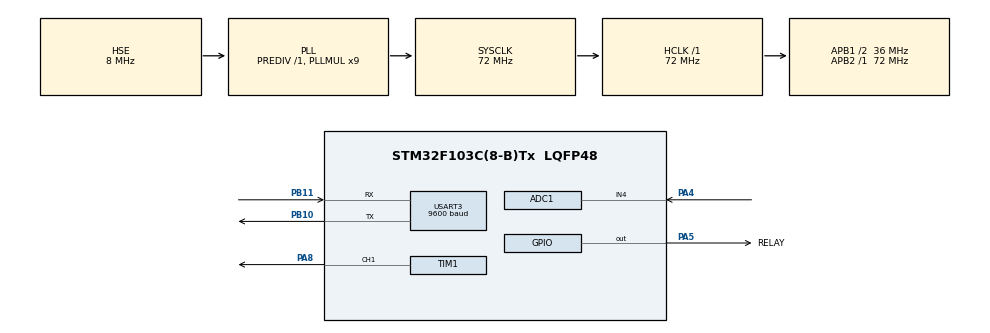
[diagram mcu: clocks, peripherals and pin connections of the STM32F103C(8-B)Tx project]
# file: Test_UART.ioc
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ADC1.Channel-2\#ChannelRegularConversion=ADC_CHANNEL_4
ADC1.ContinuousConvMode=ENABLE
ADC1.NbrOfConversion=1
ADC1.NbrOfConversionFlag=1
ADC1.Rank-2\#ChannelRegularConversion=1
ADC1.SamplingTime-2\#ChannelRegularConversion=ADC_SAMPLETIME_1CYCLE_5
ADC1.master=1
Dma.ADC1.0.Direction=DMA_PERIPH_TO_MEMORY
Dma.ADC1.0.Instance=DMA1_Channel1
Dma.ADC1.0.MemDataAlignment=DMA_MDATAALIGN_HALFWORD
Dma.ADC1.0.MemInc=DMA_MINC_ENABLE
Dma.ADC1.0.Mode=DMA_CIRCULAR
Dma.ADC1.0.PeriphDataAlignment=DMA_PDATAALIGN_HALFWORD
Dma.ADC1.0.PeriphInc=DMA_PINC_DISABLE
Dma.ADC1.0.Priority=DMA_PRIORITY_HIGH
Dma.Request0=ADC1
Dma.Request1=USART3_RX
Dma.Request2=USART3_TX
Dma.USART3_RX.1.Direction=DMA_PERIPH_TO_MEMORY
Dma.USART3_RX.1.Instance=DMA1_Channel3
Dma.USART3_RX.1.MemDataAlignment=DMA_MDATAALIGN_BYTE
Dma.USART3_RX.1.MemInc=DMA_MINC_ENABLE
Dma.USART3_RX.1.Mode=DMA_NORMAL
Dma.USART3_RX.1.PeriphDataAlignment=DMA_PDATAALIGN_BYTE
Dma.USART3_RX.1.PeriphInc=DMA_PINC_DISABLE
Dma.USART3_RX.1.Priority=DMA_PRIORITY_LOW
Dma.USART3_TX.2.Direction=DMA_MEMORY_TO_PERIPH
Dma.USART3_TX.2.Instance=DMA1_Channel2
Dma.USART3_TX.2.MemDataAlignment=DMA_MDATAALIGN_BYTE
Dma.USART3_TX.2.MemInc=DMA_MINC_ENABLE
Dma.USART3_TX.2.Mode=DMA_NORMAL
Dma.USART3_TX.2.PeriphDataAlignment=DMA_PDATAALIGN_BYTE
Dma.USART3_TX.2.PeriphInc=DMA_PINC_DISABLE
Dma.USART3_TX.2.Priority=DMA_PRIORITY_LOW
Mcu.Family=STM32F1
Mcu.Name=STM32F103C(8-B)Tx
Mcu.Package=LQFP48
NVIC.DMA1_Channel2_IRQn=true\:0\:0\:false\:false\:true\:true\:true\:true
NVIC.DMA1_Channel3_IRQn=true\:0\:0\:false\:false\:true\:true\:true\:true
NVIC.PriorityGroup=NVIC_PRIORITYGROUP_4
NVIC.TIM1_BRK_IRQn=true\:0\:0\:false\:false\:true\:true\:true\:true
NVIC.TIM1_CC_IRQn=true\:0\:0\:false\:false\:true\:true\:true\:true
NVIC.TIM1_TRG_COM_IRQn=true\:0\:0\:false\:false\:true\:true\:true\:true
NVIC.TIM1_UP_IRQn=true\:0\:0\:false\:false\:true\:true\:true\:true
NVIC.USART3_IRQn=true\:0\:0\:false\:false\:true\:true\:true\:true
PA13.Mode=Serial_Wire
PA13.Signal=SYS_JTMS-SWDIO
PA14.Mode=Serial_Wire
PA14.Signal=SYS_JTCK-SWCLK
PA4.Signal=ADCx_IN4
PA5.GPIO_Label=RELAY
PA5.GPIO_PuPd=GPIO_NOPULL
PA5.Signal=GPIO_Output
PA8.Signal=S_TIM1_CH1
PB10.Mode=Asynchronous
PB10.Signal=USART3_TX
PB11.GPIO_PuPd=GPIO_NOPULL
PB11.Mode=Asynchronous
PB11.Signal=USART3_RX
PD0-OSC_IN.Mode=HSE-External-Oscillator
PD0-OSC_IN.Signal=RCC_OSC_IN
PD1-OSC_OUT.Mode=HSE-External-Oscillator
PD1-OSC_OUT.Signal=RCC_OSC_OUT
ProjectManager.HeapSize=0x200
ProjectManager.StackSize=0x400
ProjectManager.TargetToolchain=STM32CubeIDE
RCC.ADCPresc=RCC_ADCPCLK2_DIV6
RCC.AHBFreq_Value=72000000
RCC.APB1CLKDivider=RCC_HCLK_DIV2
RCC.APB1Freq_Value=36000000
RCC.APB1TimFreq_Value=72000000
RCC.APB2Freq_Value=72000000
RCC.APB2TimFreq_Value=72000000
RCC.HCLKFreq_Value=72000000
RCC.PLLMUL=RCC_PLL_MUL9
RCC.PLLSourceVirtual=RCC_PLLSOURCE_HSE
RCC.SYSCLKFreq_VALUE=72000000
RCC.SYSCLKSource=RCC_SYSCLKSOURCE_PLLCLK
RCC.USBFreq_Value=72000000
SH.ADCx_IN4.0=ADC1_IN4,IN4
SH.S_TIM1_CH1.0=TIM1_CH1,PWM Generation1 CH1
TIM1.AutoReloadPreload=TIM_AUTORELOAD_PRELOAD_ENABLE
TIM1.Channel-PWM\ Generation1\ CH1=TIM_CHANNEL_1
TIM1.Period=1000-1
TIM1.Prescaler=72-1
USART3.BaudRate=9600
USART3.VirtualMode=VM_ASYNC
VP_TIM1_VS_ClockSourceINT.Mode=Internal
board=custom

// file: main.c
/* USER CODE BEGIN Header */
/**
  ******************************************************************************
  * @file           : main.c
  * @brief          : Main program body
  ******************************************************************************
  * @attention
  *
  * Copyright (c) 2024 STMicroelectronics.
  * All rights reserved.
  *
  * This software is licensed under terms that can be found in the LICENSE file
  * in the root directory of this software component.
  * If no LICENSE file comes with this software, it is provided AS-IS.
  *
  ******************************************************************************
  */
/* USER CODE END Header */
#include "main.h"

/* USER CODE BEGIN Includes */
#include <stdlib.h>
#include <string.h>
#include <stdio.h>
/* USER CODE END Includes */

/* USER CODE BEGIN PD */

/* NOTE: UART_USE_DMA, ADC_USE_DMA, RELAY_Pin, RELAY_GPIO_Port, RX_BUFFER_SIZE
 * and TX_BUFFER_SIZE are now centralized in main.h so that every module in
 * the project (main.c, and any other .c file that includes "main.h") shares
 * the exact same configuration and pin mapping. See main.h for details and
 * usage notes. */

/* USER CODE END PD */

ADC_HandleTypeDef hadc1;
DMA_HandleTypeDef hdma_adc1;

TIM_HandleTypeDef htim1;

UART_HandleTypeDef huart3;

/* USER CODE BEGIN PV */
static uint8_t  tx_buffer[TX_BUFFER_SIZE];
static uint8_t  rx_buffer[RX_BUFFER_SIZE];
static uint8_t  rx_data;              /* used only in Interrupt mode (byte by byte) */
static uint8_t  rx_index = 0;         /* used only in Interrupt mode */

static volatile int      pwm_value = 0;
static volatile uint16_t adc_value = 0;

#if ADC_USE_DMA
static uint16_t adc_dma_buffer[1];
#endif
/* USER CODE END PV */

void SystemClock_Config(void);
static void MX_GPIO_Init(void);
static void MX_DMA_Init(void);
static void MX_USART3_UART_Init(void);
static void MX_TIM1_Init(void);
static void MX_ADC1_Init(void);
/* USER CODE BEGIN PFP */
static void UART_SendString(const char *msg);
static void Process_Command(char *cmd, uint16_t len);
/* USER CODE END PFP */

/* USER CODE BEGIN 0 */

/**
 * @brief  Send a string over USART3, using DMA or Interrupt depending on
 *         the UART_USE_DMA configuration above.
 */
static void UART_SendString(const char *msg)
{
    uint16_t len = (uint16_t)strlen(msg);
    if (len >= TX_BUFFER_SIZE)
    {
        len = TX_BUFFER_SIZE - 1;
    }
    memcpy(tx_buffer, msg, len);

#if UART_USE_DMA
    HAL_UART_Transmit_DMA(&huart3, tx_buffer, len);
#else
    HAL_UART_Transmit_IT(&huart3, tx_buffer, len);
#endif
}

/**
 * @brief  Parses a single command line received over UART. This function is
 *         shared by both DMA and Interrupt modes, so the command logic is
 *         written only ONCE.
 *
 *  Supported commands:
 *    - "PWM_<0..100>"  -> set PWM duty cycle on TIM1 CH1
 *    - "relay ON"      -> turn the relay on (PA5)
 *    - "relay OFF"     -> turn the relay off (PA5)
 */
static void Process_Command(char *cmd, uint16_t len)
{
    (void)len;

    if (strncmp(cmd, "PWM_", 4) == 0)
    {
        pwm_value = atoi(cmd + 4);
        if (pwm_value >= 0 && pwm_value <= 100)
        {
            /* Map 0-100 (%) to the timer's 0-999 resolution */
            __HAL_TIM_SET_COMPARE(&htim1, TIM_CHANNEL_1, (uint32_t)(pwm_value * 10));
        }
    }
    else if (strncmp(cmd, "relay ON", 8) == 0)
    {
        HAL_GPIO_WritePin(RELAY_GPIO_Port, RELAY_Pin, GPIO_PIN_SET);
        UART_SendString("Relay ON\r\n");
    }
    else if (strncmp(cmd, "relay OFF", 9) == 0)
    {
        HAL_GPIO_WritePin(RELAY_GPIO_Port, RELAY_Pin, GPIO_PIN_RESET);
        UART_SendString("Relay OFF\r\n");
    }
}

/* =============================================================
 *  ==================  MODE: UART WITH DMA  ====================
 * ============================================================= */
#if UART_USE_DMA

/**
 * @brief  Called by HAL when DMA detects an "idle line" condition (i.e. no
 *         new data for a short while -> one line/command is considered
 *         complete). This is the standard way to receive variable-length
 *         UART data using DMA.
 * @param  Size Number of bytes received before the idle condition was detected.
 */
void HAL_UARTEx_RxEventCallback(UART_HandleTypeDef *huart, uint16_t Size)
{
    if (huart->Instance == USART3)
    {
        if (Size >= RX_BUFFER_SIZE) { Size = RX_BUFFER_SIZE - 1; }
        rx_buffer[Size] = '\0';

        Process_Command((char *)rx_buffer, Size);

        memset(rx_buffer, 0, sizeof(rx_buffer));

        /* Arm the next reception */
        HAL_UARTEx_ReceiveToIdle_DMA(&huart3, rx_buffer, RX_BUFFER_SIZE - 1);
        __HAL_DMA_DISABLE_IT(huart3.hdmarx, DMA_IT_HT); /* half-transfer IT not needed */
    }
}

#else
/* =============================================================
 *  ===============  MODE: UART WITH INTERRUPT  =================
 * ============================================================= */

/**
 * @brief  Built-in HAL callback, called every time 1 byte has been received
 *         via interrupt (HAL_UART_Receive_IT is re-armed after every byte).
 */
void HAL_UART_RxCpltCallback(UART_HandleTypeDef *huart)
{
    if (huart->Instance == USART3)
    {
        if (rx_data == '\n')
        {
            rx_buffer[rx_index] = '\0';

            Process_Command((char *)rx_buffer, rx_index);

            rx_index = 0;
            memset(rx_buffer, 0, sizeof(rx_buffer));
        }
        else if (rx_index < (RX_BUFFER_SIZE - 1))
        {
            rx_buffer[rx_index++] = rx_data;
        }

        /* Arm reception of the next byte */
        HAL_UART_Receive_IT(&huart3, &rx_data, 1);
    }
}

#endif /* UART_USE_DMA */

/* =============================================================
 *  ===============  MODE: ADC WITH INTERRUPT  ==================
 *  (active only when ADC_USE_DMA == 0)
 * ============================================================= */
#if !ADC_USE_DMA

/**
 * @brief  Called by HAL every time an ADC conversion completes (End Of
 *         Conversion). Since the ADC is configured with
 *         ContinuousConvMode = ENABLE, the next conversion runs
 *         automatically without needing to call Start_IT again.
 */
void HAL_ADC_ConvCpltCallback(ADC_HandleTypeDef *hadc)
{
    if (hadc->Instance == ADC1)
    {
        adc_value = (uint16_t)HAL_ADC_GetValue(hadc);
    }
}

#endif /* !ADC_USE_DMA */

/* USER CODE END 0 */

int main(void)
{

  /* MCU Configuration--------------------------------------------------------*/

  /* Reset of all peripherals, Initializes the Flash interface and the Systick. */
  HAL_Init();

  /* Configure the system clock */
  SystemClock_Config();

  /* Initialize all configured peripherals */
  MX_GPIO_Init();
  MX_DMA_Init();
  MX_USART3_UART_Init();
  MX_TIM1_Init();
  MX_ADC1_Init();
  /* USER CODE BEGIN 2 */

  /* --- Start PWM --- */
  HAL_TIM_PWM_Start(&htim1, TIM_CHANNEL_1);

  /* --- Start UART reception (mode selected by UART_USE_DMA) --- */
#if UART_USE_DMA
  HAL_UARTEx_ReceiveToIdle_DMA(&huart3, rx_buffer, RX_BUFFER_SIZE - 1);
  __HAL_DMA_DISABLE_IT(huart3.hdmarx, DMA_IT_HT);
#else
  HAL_UART_Receive_IT(&huart3, &rx_data, 1);
#endif

  /* --- Start ADC (mode selected by ADC_USE_DMA) --- */
#if ADC_USE_DMA
  HAL_ADC_Start_DMA(&hadc1, (uint32_t *)adc_dma_buffer, 1);
#else
  HAL_ADC_Start_IT(&hadc1);
#endif

  /* Send the initial ADC value as a sample output */
#if ADC_USE_DMA
  adc_value = adc_dma_buffer[0];
#endif
  {
      char msg[24];
      sprintf(msg, "ADC Value: %u\r\n", adc_value);
      UART_SendString(msg);
  }

  /* USER CODE END 2 */

  /* Infinite loop */
  while (1)
  {

    /* USER CODE BEGIN 3 */
#if ADC_USE_DMA
    adc_value = adc_dma_buffer[0];
#endif
    HAL_Delay(1000);
  }
  /* USER CODE END 3 */
}

void SystemClock_Config(void)
{
  RCC_OscInitTypeDef RCC_OscInitStruct = {0};
  RCC_ClkInitTypeDef RCC_ClkInitStruct = {0};
  RCC_PeriphCLKInitTypeDef PeriphClkInit = {0};

  /** Initializes the RCC Oscillators according to the specified parameters
  * in the RCC_OscInitTypeDef structure.
  */
  RCC_OscInitStruct.OscillatorType = RCC_OSCILLATORTYPE_HSE;
  RCC_OscInitStruct.HSEState = RCC_HSE_ON;
  RCC_OscInitStruct.HSEPredivValue = RCC_HSE_PREDIV_DIV1;
  RCC_OscInitStruct.HSIState = RCC_HSI_ON;
  RCC_OscInitStruct.PLL.PLLState = RCC_PLL_ON;
  RCC_OscInitStruct.PLL.PLLSource = RCC_PLLSOURCE_HSE;
  RCC_OscInitStruct.PLL.PLLMUL = RCC_PLL_MUL9;
  if (HAL_RCC_OscConfig(&RCC_OscInitStruct) != HAL_OK)
  {
    Error_Handler();
  }

  /** Initializes the CPU, AHB and APB buses clocks
  */
  RCC_ClkInitStruct.ClockType = RCC_CLOCKTYPE_HCLK|RCC_CLOCKTYPE_SYSCLK
                              |RCC_CLOCKTYPE_PCLK1|RCC_CLOCKTYPE_PCLK2;
  RCC_ClkInitStruct.SYSCLKSource = RCC_SYSCLKSOURCE_PLLCLK;
  RCC_ClkInitStruct.AHBCLKDivider = RCC_SYSCLK_DIV1;
  RCC_ClkInitStruct.APB1CLKDivider = RCC_HCLK_DIV2;
  RCC_ClkInitStruct.APB2CLKDivider = RCC_HCLK_DIV1;

  if (HAL_RCC_ClockConfig(&RCC_ClkInitStruct, FLASH_LATENCY_2) != HAL_OK)
  {
    Error_Handler();
  }
  PeriphClkInit.PeriphClockSelection = RCC_PERIPHCLK_ADC;
  PeriphClkInit.AdcClockSelection = RCC_ADCPCLK2_DIV6;
  if (HAL_RCCEx_PeriphCLKConfig(&PeriphClkInit) != HAL_OK)
  {
    Error_Handler();
  }
}

static void MX_ADC1_Init(void)
{

  ADC_ChannelConfTypeDef sConfig = {0};

  /** Common config
  */
  hadc1.Instance = ADC1;
  hadc1.Init.ScanConvMode = ADC_SCAN_DISABLE;
  hadc1.Init.ContinuousConvMode = ENABLE;
  hadc1.Init.DiscontinuousConvMode = DISABLE;
  hadc1.Init.ExternalTrigConv = ADC_SOFTWARE_START;
  hadc1.Init.DataAlign = ADC_DATAALIGN_RIGHT;
  hadc1.Init.NbrOfConversion = 1;
  if (HAL_ADC_Init(&hadc1) != HAL_OK)
  {
    Error_Handler();
  }

  /** Configure Regular Channel
  */
  sConfig.Channel = ADC_CHANNEL_4;
  sConfig.Rank = ADC_REGULAR_RANK_1;
  sConfig.SamplingTime = ADC_SAMPLETIME_1CYCLE_5;
  if (HAL_ADC_ConfigChannel(&hadc1, &sConfig) != HAL_OK)
  {
    Error_Handler();
  }
}

static void MX_TIM1_Init(void)
{

  TIM_ClockConfigTypeDef sClockSourceConfig = {0};
  TIM_MasterConfigTypeDef sMasterConfig = {0};
  TIM_OC_InitTypeDef sConfigOC = {0};
  TIM_BreakDeadTimeConfigTypeDef sBreakDeadTimeConfig = {0};

  htim1.Instance = TIM1;
  htim1.Init.Prescaler = 72-1;
  htim1.Init.CounterMode = TIM_COUNTERMODE_UP;
  htim1.Init.Period = 1000-1;
  htim1.Init.ClockDivision = TIM_CLOCKDIVISION_DIV1;
  htim1.Init.RepetitionCounter = 0;
  htim1.Init.AutoReloadPreload = TIM_AUTORELOAD_PRELOAD_ENABLE;
  if (HAL_TIM_Base_Init(&htim1) != HAL_OK)
  {
    Error_Handler();
  }
  sClockSourceConfig.ClockSource = TIM_CLOCKSOURCE_INTERNAL;
  if (HAL_TIM_ConfigClockSource(&htim1, &sClockSourceConfig) != HAL_OK)
  {
    Error_Handler();
  }
  if (HAL_TIM_PWM_Init(&htim1) != HAL_OK)
  {
    Error_Handler();
  }
  sMasterConfig.MasterOutputTrigger = TIM_TRGO_RESET;
  sMasterConfig.MasterSlaveMode = TIM_MASTERSLAVEMODE_DISABLE;
  if (HAL_TIMEx_MasterConfigSynchronization(&htim1, &sMasterConfig) != HAL_OK)
  {
    Error_Handler();
  }
  sConfigOC.OCMode = TIM_OCMODE_PWM1;
  sConfigOC.Pulse = 0;
  sConfigOC.OCPolarity = TIM_OCPOLARITY_HIGH;
  sConfigOC.OCNPolarity = TIM_OCNPOLARITY_HIGH;
  sConfigOC.OCFastMode = TIM_OCFAST_DISABLE;
  sConfigOC.OCIdleState = TIM_OCIDLESTATE_RESET;
  sConfigOC.OCNIdleState = TIM_OCNIDLESTATE_RESET;
  if (HAL_TIM_PWM_ConfigChannel(&htim1, &sConfigOC, TIM_CHANNEL_1) != HAL_OK)
  {
    Error_Handler();
  }
  sBreakDeadTimeConfig.OffStateRunMode = TIM_OSSR_DISABLE;
  sBreakDeadTimeConfig.OffStateIDLEMode = TIM_OSSI_DISABLE;
  sBreakDeadTimeConfig.LockLevel = TIM_LOCKLEVEL_OFF;
  sBreakDeadTimeConfig.DeadTime = 0;
  sBreakDeadTimeConfig.BreakState = TIM_BREAK_DISABLE;
  sBreakDeadTimeConfig.BreakPolarity = TIM_BREAKPOLARITY_HIGH;
  sBreakDeadTimeConfig.AutomaticOutput = TIM_AUTOMATICOUTPUT_DISABLE;
  if (HAL_TIMEx_ConfigBreakDeadTime(&htim1, &sBreakDeadTimeConfig) != HAL_OK)
  {
    Error_Handler();
  }
  HAL_TIM_MspPostInit(&htim1);
}

static void MX_USART3_UART_Init(void)
{

  huart3.Instance = USART3;
  huart3.Init.BaudRate = 9600;
  huart3.Init.WordLength = UART_WORDLENGTH_8B;
  huart3.Init.StopBits = UART_STOPBITS_1;
  huart3.Init.Parity = UART_PARITY_NONE;
  huart3.Init.Mode = UART_MODE_TX_RX;
  huart3.Init.HwFlowCtl = UART_HWCONTROL_NONE;
  huart3.Init.OverSampling = UART_OVERSAMPLING_16;
  if (HAL_UART_Init(&huart3) != HAL_OK)
  {
    Error_Handler();
  }
  /* USER CODE BEGIN USART3_Init 2 */
  /* Note: if UART_USE_DMA = 1, make sure the DMA Request for USART3_RX
   * (and TX if needed) is enabled in CubeMX (.ioc) so that the
   * hdma_usart3_rx / hdma_usart3_tx handle(s) are generated and linked
   * automatically by HAL_UART_MspInit(). No extra manual code is needed
   * here as long as the .ioc is configured correctly. */
  /* USER CODE END USART3_Init 2 */
}

static void MX_DMA_Init(void)
{
  /* DMA controller clock enable */
  __HAL_RCC_DMA1_CLK_ENABLE();
}

static void MX_GPIO_Init(void)
{
  GPIO_InitTypeDef GPIO_InitStruct = {0};

  /* GPIO Ports Clock Enable */
  __HAL_RCC_GPIOD_CLK_ENABLE();
  __HAL_RCC_GPIOA_CLK_ENABLE();
  __HAL_RCC_GPIOB_CLK_ENABLE();

  /*Configure GPIO pin Output Level */
  HAL_GPIO_WritePin(RELAY_GPIO_Port, RELAY_Pin, GPIO_PIN_RESET);

  /*Configure GPIO pin : PA5 (Relay) */
  GPIO_InitStruct.Pin = RELAY_Pin;
  GPIO_InitStruct.Mode = GPIO_MODE_OUTPUT_PP;
  GPIO_InitStruct.Pull = GPIO_NOPULL;
  GPIO_InitStruct.Speed = GPIO_SPEED_FREQ_LOW;
  HAL_GPIO_Init(RELAY_GPIO_Port, &GPIO_InitStruct);

}

void Error_Handler(void)
{
  __disable_irq();
  while (1)
  {
  }
}
